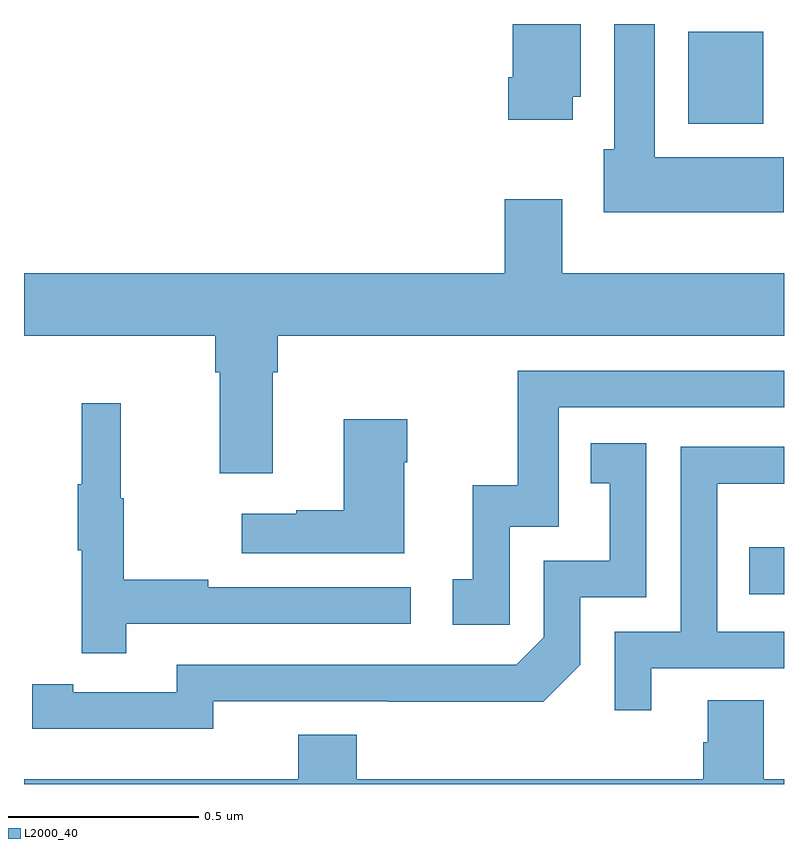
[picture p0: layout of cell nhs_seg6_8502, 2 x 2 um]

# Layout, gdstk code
import gdstk
lib = gdstk.Library(unit=1e-6, precision=1e-09)
def R(c, l, rs):  # rectangles x0, y0, x1, y1
    for r in rs: c.add(gdstk.rectangle(r[:2], r[2:], *l))
def P(c, l, *ps):  # polygons
    for p in ps: c.add(gdstk.Polygon(p, *l))
L2000_40 = (2000, 40)

nhs_seg6_8502 = lib.new_cell('nhs_seg6_8502')
R(nhs_seg6_8502, L2000_40, [(223.909,936,224,936.123), (223.748,937.238,223.945,937.48)])
P(nhs_seg6_8502, L2000_40, [(223.444,937.308),(223.465,937.308),(223.465,937.5),(223.286,937.5),(223.286,937.36),(223.274,937.36),(223.274,937.248),(223.444,937.248)],
  [(223.999,937.15),(223.66,937.15),(223.66,937.5),(223.553,937.5),(223.553,937.17),(223.526,937.17),(223.526,937.004),(223.999,937.004)],
  [(222.655,936.584),(222.668,936.584),(222.668,936.68),(224,936.68),(224,936.844),(223.417,936.844),(223.417,937.039),(223.265,937.039),(223.265,936.844),(222,936.844),(222,936.68),(222.503,936.68),(222.503,936.584),(222.515,936.584),(222.515,936.318),(222.655,936.318)],
  [(223.278,936.177),(223.407,936.177),(223.407,936.492),(224,936.492),(224,936.588),(223.299,936.588),(223.299,936.286),(223.181,936.286),(223.181,936.039),(223.128,936.039),(223.128,935.919),(223.278,935.919)],
  [(222.269,935.922),(223.018,935.922),(223.018,936.018),(222.485,936.018),(222.485,936.038),(222.262,936.038),(222.262,936.252),(222.254,936.252),(222.254,936.502),(222.152,936.502),(222.152,936.289),(222.141,936.289),(222.141,936.115),(222.152,936.115),(222.152,935.844),(222.269,935.844)],
  [(223,936.347),(223.008,936.347),(223.008,936.46),(222.842,936.46),(222.842,936.221),(222.716,936.221),(222.716,936.211),(222.573,936.211),(222.573,936.107),(223,936.107)],
  [(222.498,935.718),(222.958,935.718),(222.958,935.717),(223.366,935.717),(223.464,935.814),(223.464,935.991),(223.638,935.991),(223.638,936.397),(223.492,936.397),(223.492,936.291),(223.541,936.291),(223.541,936.087),(223.368,936.087),(223.368,935.886),(223.296,935.814),(222.402,935.814),(222.402,935.742),(222.13,935.742),(222.13,935.762),(222.022,935.762),(222.022,935.646),(222.13,935.646),(222.13,935.645),(222.498,935.645)],
  [(223.651,935.805),(224,935.805),(224,935.901),(223.824,935.901),(223.824,936.29),(224,936.29),(224,936.387),(223.728,936.387),(223.728,935.901),(223.554,935.901),(223.554,935.694),(223.651,935.694)],
  [(224,935.512),(223.947,935.512),(223.947,935.72),(223.799,935.72),(223.799,935.61),(223.787,935.61),(223.787,935.512),(222.875,935.512),(222.875,935.629),(222.722,935.629),(222.722,935.512),(222,935.512),(222,935.5),(224,935.5)])

lib.write_gds('nhs_seg6_8502.gds')
